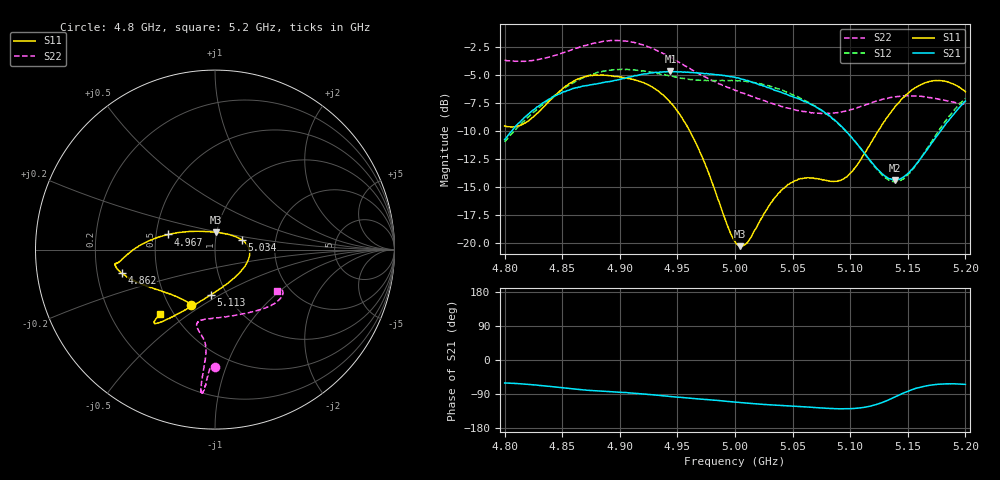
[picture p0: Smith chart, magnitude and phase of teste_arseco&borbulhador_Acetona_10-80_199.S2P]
! Network Analyzer HP8722D
! Hewlett-Packard
! Data name: Linha & Wilkinson
! Saver's name: Rodrigo Anjos
! Comments: Teste da utilização de aquisição
! continua pelo VNA HP8722D
! Time and date: 17/4/2025 16:01
!  Frequency  S11  S21  S12  S22
# HZ  S  MA R 50
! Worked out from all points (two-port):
!   401 points, 4.8 GHz to 5.2 GHz, reference 50 ohm
!   highest |S21| = -4.67 dB at 4.944 GHz (marker M1); lowest = -14.4 dB at 5.139 GHz (marker M2)
!   |S21| within 3 dB of the highest: 4.831 GHz to 5.067 GHz (236.2 MHz wide, 4.77 % of centre); 5.1968 GHz to end of sweep
!   lowest |S11| = -20.3 dB at 5.004 GHz (marker M3), VSWR 1.21, Z = 49.5 + j9.63 ohm
!   |S11| at or under -10 dB: 4.961 GHz to 5.124 GHz (163.4 MHz wide, 3.24 % of centre)
!   |S22| runs from -8.5 to -1.9 dB; largest |S21 - S12| = 0.87
!   S11 on the Smith chart (normalised r, x): 4.8 GHz: 0.65, -0.45; 4.862 GHz: 0.31, -0.11; 4.967 GHz: 0.58, +0.11; 5.034 GHz: 1.34, +0.15; 5.113 GHz: 0.84, -0.45; 5.2 GHz: 0.42, -0.39
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4.8e9  0.3334 -113.3  0.2891 -60.7  0.2827 -175.0  0.656 -90.0
4.819e9  0.3466 -133.3  0.3697 -64.0  0.3586 -173.5  0.6512 -91.5
4.862e9  0.5358 -165.7  0.4943 -76.8  0.5282 -176.7  0.7423 -93.8
4.867e9  0.5485 -167.7  0.5013 -78.6  0.5444 -177.8  0.7571 -94.0
4.9e9  0.5523 -172.2  0.5386 -85.1  0.5965 175.7  0.8024 -95.4
4.934e9  0.4749 -178.0  0.5782 -93.4  0.5723 171.8  0.7164 -95.7
4.944e9  0.4249 177.3  0.5841 -96.2  0.5572 171.9  0.6762 -95.5
4.967e9  0.2729 162.0  0.5761 -102.2  0.5341 174.0  0.5764 -95.1
5e9  0.1012 101.4  0.5502 -111.1  0.5322 176.2  0.4809 -99.1
5.004e9  0.09655 87.7  0.5434 -111.9  0.5305 176.1  0.4732 -99.9
5.012e9  0.1025 60.9  0.5295 -114.3  0.5252 176.0  0.4569 -101.7
5.034e9  0.158 20.7  0.4818 -119.2  0.496 174.9  0.4178 -103.4
5.05e9  0.1867 4.4  0.4509 -122.1  0.4602 174.1  0.3963 -99.6
5.067e9  0.1952 -13.8  0.4137 -124.8  0.4153 173.6  0.3819 -90.7
5.093e9  0.1919 -58.0  0.3296 -128.7  0.3288 174.3  0.3851 -70.6
5.113e9  0.2535 -95.3  0.2492 -124.5  0.2487 -179.9  0.4137 -54.9
5.134e9  0.3755 -116.4  0.1935 -104.3  0.1903 -157.2  0.4457 -42.9
5.139e9  0.4068 -119.4  0.191 -97.2  0.1878 -149.3  0.45 -40.8
5.152e9  0.4748 -124.7  0.2086 -80.1  0.2059 -129.4  0.4546 -36.0
5.17e9  0.5284 -128.7  0.2752 -66.3  0.2808 -112.4  0.4461 -31.9
5.184e9  0.5255 -130.1  0.3463 -62.9  0.3574 -107.1  0.4317 -31.0
5.2e9  0.4741 -130.5  0.4305 -64.3  0.4427 -106.4  0.4153 -33.3
